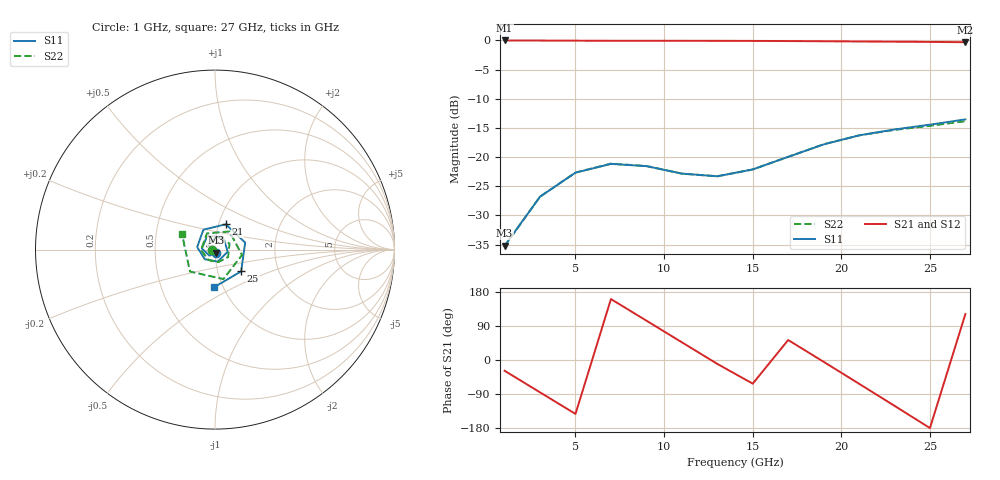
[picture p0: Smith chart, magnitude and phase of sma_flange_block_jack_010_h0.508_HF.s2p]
! Generated by Hertzon (EMerge FEM)
# HZ S RI R 49.9708
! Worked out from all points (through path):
!   14 points, 1 GHz to 27 GHz, reference 49.9708 ohm
!   highest |S21| = -0.01 dB at 1 GHz (marker M1); lowest = -0.3 dB at 27 GHz (marker M2)
!   lowest |S11| = -35.2 dB at 1 GHz (marker M3), VSWR 1.04, Z = 50.6 - j1.64 ohm
!   |S11| at or under -10 dB: start of sweep to end of sweep
!   |S22| runs from -35.3 to -13.9 dB; largest |S21 - S12| = 0.21
!   S11 on the Smith chart (normalised r, x): 1 GHz: 1.01, -0.03; 21 GHz: 1.08, +0.31; 25 GHz: 1.30, -0.33; 27 GHz: 0.90, -0.40
1e9  0.00611 -0.0162  0.8783 -0.476  0.8778 -0.477  -0.0165 -0.00489
3e9  -0.0306 -0.0341  0.08 -0.994  0.0786 -0.9941  -0.0363 0.0279
5e9  -0.0732 0.0057  -0.7872 -0.6081  -0.7884 -0.6065  0.0123 0.0727
7e9  -0.0429 0.0761  -0.9375 0.3264  -0.9365 0.3294  0.081 0.0339
9e9  0.0443 0.0709  -0.2378 0.9633  -0.2328 0.9646  0.073 -0.0412
1.1e10  0.0712 -0.012  0.6792 0.7234  0.686 0.717  0.018 -0.0698
1.3e10  0.0145 -0.0669  0.9759 -0.1762  0.972 -0.197  -0.0359 -0.0582
1.5e10  -0.0569 -0.0539  0.4586 -0.8775  0.2657 -0.9538  -0.0782 -0.00178
1.7e10  -0.0994 0.0141  0.5979 0.7856  0.5676 0.8078  -0.0445 0.0901
1.9e10  -0.0647 0.1108  0.9798 -0.0805  0.9812 -0.0609  0.08 0.1009
2.1e10  0.0604 0.141  0.4496 -0.8693  0.4622 -0.8626  0.1506 -0.0299
2.3e10  0.168 0.039  -0.501 -0.8361  -0.491 -0.842  0.0469 -0.1643
2.5e10  0.1458 -0.1211  -0.9708 -0.00705  -0.9706 -0.017  -0.1393 -0.1222
2.7e10  -0.00621 -0.2103  -0.5021 0.8242  -0.5097 0.8196  -0.1839 0.0859
